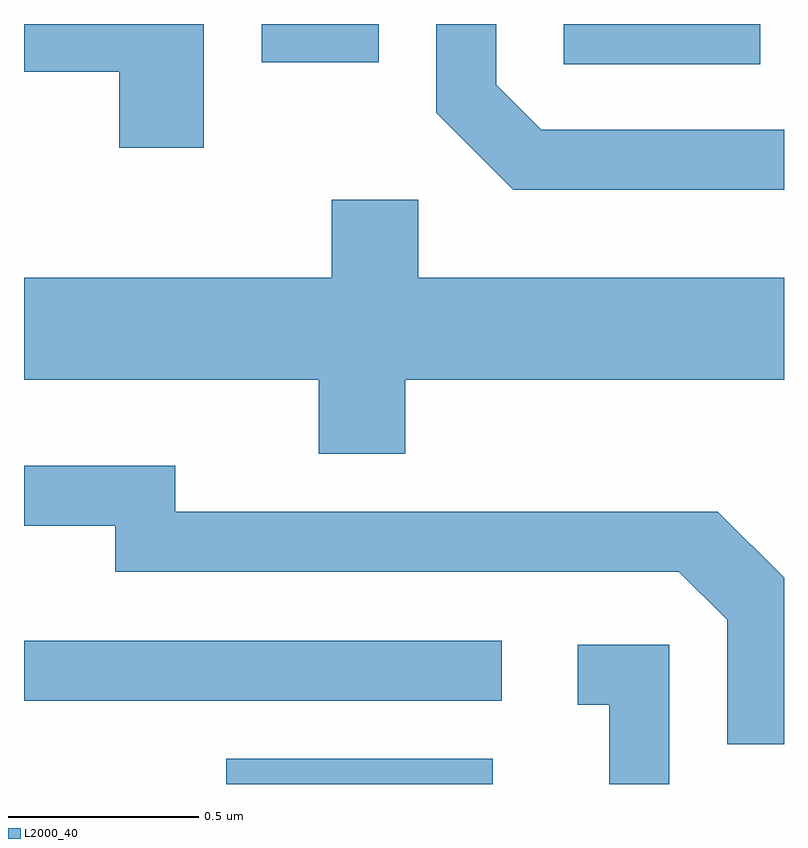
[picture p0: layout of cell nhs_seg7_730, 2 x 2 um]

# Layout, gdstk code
import gdstk
lib = gdstk.Library(unit=1e-6, precision=1e-09)
def R(c, l, rs):  # rectangles x0, y0, x1, y1
    for r in rs: c.add(gdstk.rectangle(r[:2], r[2:], *l))
def P(c, l, *ps):  # polygons
    for p in ps: c.add(gdstk.Polygon(p, *l))
L2000_40 = (2000, 40)

nhs_seg7_730 = lib.new_cell('nhs_seg7_730')
R(nhs_seg7_730, L2000_40, [(191.143,1713.252,191.844,1713.319), (190.611,1713.471,191.868,1713.629), (192.031,1715.146,192.548,1715.252), (191.236,1715.151,191.544,1715.252)])
P(nhs_seg7_730, L2000_40, [(191.084,1715.252),(190.611,1715.252),(190.611,1715.126),(190.861,1715.126),(190.861,1714.926),(191.084,1714.926)],
  [(192.611,1714.974),(191.972,1714.974),(191.854,1715.092),(191.854,1715.252),(191.696,1715.252),(191.696,1715.019),(191.899,1714.816),(192.611,1714.816)],
  [(191.614,1714.316),(192.611,1714.316),(192.611,1714.584),(191.649,1714.584),(191.649,1714.789),(191.421,1714.789),(191.421,1714.584),(190.611,1714.584),(190.611,1714.316),(191.386,1714.316),(191.386,1714.121),(191.614,1714.121)],
  [(192.611,1713.795),(192.437,1713.969),(191.009,1713.969),(191.009,1714.089),(190.611,1714.089),(190.611,1713.931),(190.851,1713.931),(190.851,1713.811),(192.334,1713.811),(192.461,1713.684),(192.461,1713.356),(192.611,1713.356)],
  [(192.309,1713.619),(192.068,1713.619),(192.068,1713.461),(192.151,1713.461),(192.151,1713.252),(192.309,1713.252)])

lib.write_gds('nhs_seg7_730.gds')
